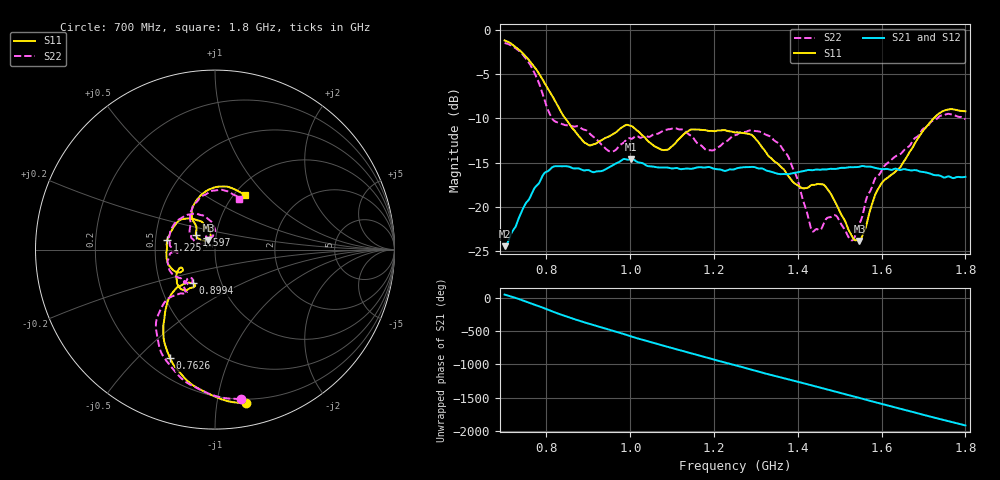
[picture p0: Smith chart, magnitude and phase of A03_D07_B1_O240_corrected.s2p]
! Created with skrf 1.9.0 (http://scikit-rf.org).
# Hz S RI R 50.0
!freq ReS11 ImS11 ReS21 ImS21 ReS12 ImS12 ReS22 ImS22
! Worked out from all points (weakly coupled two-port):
!   1601 points, 700 MHz to 1.8 GHz, reference 50 ohm
!   highest |S21| = -14.58 dB at 1.002 GHz (marker M1); lowest = -24.5 dB at 701.4 MHz (marker M2)
!   lowest |S11| = -23.9 dB at 1.547 GHz (marker M3), VSWR 1.14, Z = 46.3 + j4.91 ohm
!   |S11| at or under -10 dB: 844.9 MHz to 1.724 GHz (879.1 MHz wide, 68.4 % of centre)
!   |S22| runs from -23.8 to -1.5 dB; largest |S21 - S12| = 0.0037
!   S11 on the Smith chart (normalised r, x): 700 MHz: 0.17, -1.21; 762.6 MHz: 0.30, -0.63; 899.4 MHz: 0.73, -0.29; 1.225 GHz: 0.58, +0.07; 1.597 GHz: 0.80, +0.13; 1.8 GHz: 1.12, +0.77
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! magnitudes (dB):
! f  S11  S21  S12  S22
! 700 MHz  -1.2  -24.4  -24.2  -1.5
! 701.4 MHz  -1.2  -24.5  -24.1  -1.5
! 762.6 MHz  -3.7  -18.8  -18.7  -4.0
! 815.5 MHz  -7.6  -15.5  -15.6  -10.1
! 883.6 MHz  -12.3  -15.8  -15.7  -11.1
! 899.4 MHz  -13.0  -15.8  -15.9  -11.5
! 953 MHz  -11.9  -15.4  -15.4  -13.7
! 1.002 GHz  -10.9  -14.6  -14.7  -12.3
! 1.067 GHz  -13.4  -15.5  -15.5  -11.7
! 1.185 GHz  -11.4  -15.5  -15.6  -13.6
! 1.225 GHz  -11.3  -15.9  -15.9  -12.7
! 1.25 GHz  -11.6  -15.7  -15.7  -11.9
! 1.357 GHz  -15.3  -16.3  -16.2  -12.9
! 1.396 GHz  -17.5  -16.1  -16.1  -16.4
! 1.434 GHz  -17.5  -15.9  -15.8  -22.7
! 1.489 GHz  -19.4  -15.7  -15.7  -21.0
! 1.529 GHz  -23.3  -15.5  -15.5  -23.8
! 1.547 GHz  -23.9  -15.5  -15.4  -21.9
! 1.597 GHz  -17.6  -15.7  -15.7  -16.2
! 1.617 GHz  -16.6  -15.8  -15.7  -14.9
! 1.733 GHz  -9.6  -16.4  -16.5  -10.0
! 1.8 GHz  -9.2  -16.6  -16.6  -10.1
